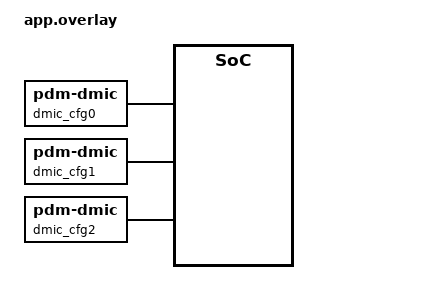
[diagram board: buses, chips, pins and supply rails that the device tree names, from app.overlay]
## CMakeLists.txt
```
# SPDX-License-Identifier: Apache-2.0

cmake_minimum_required(VERSION 3.28.0)
find_package(Zephyr REQUIRED HINTS $ENV{ZEPHYR_BASE})
project(dmic_util)

FILE(GLOB app_sources src/*.c)
target_sources(app PRIVATE ${app_sources})
```

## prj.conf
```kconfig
CONFIG_TEST=y
CONFIG_ZTEST=y
CONFIG_AUDIO=y
CONFIG_AUDIO_DMIC=y
```

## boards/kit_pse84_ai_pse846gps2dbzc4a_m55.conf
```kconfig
# Boot delay for PSE84 M55 targets.
#
# dmic_util is a pure compile-time devicetree-macro test that completes in
# ~2 ms from boot. On M55 the two-domain (enable_cm55 + image) OpenOCD flash
# sequence is slow enough that the test finishes and prints its output before
# Twister opens its serial-capture window, yielding a status=None result.
# Delaying the boot past the capture-window open lets Twister observe the
# PASS output.
CONFIG_BOOT_DELAY=2000
```

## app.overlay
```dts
/*
 * Copyright (c) 2025 Embeint Pty Ltd
 *
 * SPDX-License-Identifier: Apache-2.0
 */

/ {
	dmic_cfg0: dmic_cfg0 {
		compatible = "zephyr,pdm-dmic";
		clk-frequency-min = <1000000>;
		clk-frequency-max = <2000000>;
		clk-duty-cycle-min = <45>;
		clk-duty-cycle-max = <55>;
		channel-left;
	};

	dmic_cfg1: dmic_cfg1 {
		compatible = "zephyr,pdm-dmic";
		clk-frequency-min = <100000>;
		clk-frequency-max = <400000>;
		clk-duty-cycle-min = <40>;
		clk-duty-cycle-max = <60>;
		channel-right;
	};

	dmic_cfg2: dmic_cfg2 {
		compatible = "zephyr,pdm-dmic";
		clk-frequency-min = <150000>;
		clk-frequency-max = <450000>;
		clk-duty-cycle-min = <49>;
		clk-duty-cycle-max = <51>;
		channel-left;
		channel-right;
	};
};
```

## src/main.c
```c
/*
 * Copyright 2025 Embeint Pty Ltd
 *
 * SPDX-License-Identifier: Apache-2.0
 */

#include <zephyr/kernel.h>
#include <zephyr/audio/dmic.h>
#include <zephyr/ztest.h>

ZTEST(dmic_util, test_io_cfg_get)
{
	const struct pdm_io_cfg cfg0 = PDM_DT_IO_CFG_GET(DT_NODELABEL(dmic_cfg0));
	const struct pdm_io_cfg cfg1 = PDM_DT_IO_CFG_GET(DT_NODELABEL(dmic_cfg1));
	const struct pdm_io_cfg cfg2 = PDM_DT_IO_CFG_GET(DT_NODELABEL(dmic_cfg2));

	zassert_equal(1000000, cfg0.min_pdm_clk_freq);
	zassert_equal(2000000, cfg0.max_pdm_clk_freq);
	zassert_equal(45, cfg0.min_pdm_clk_dc);
	zassert_equal(55, cfg0.max_pdm_clk_dc);

	zassert_equal(100000, cfg1.min_pdm_clk_freq);
	zassert_equal(400000, cfg1.max_pdm_clk_freq);
	zassert_equal(40, cfg1.min_pdm_clk_dc);
	zassert_equal(60, cfg1.max_pdm_clk_dc);

	zassert_equal(150000, cfg2.min_pdm_clk_freq);
	zassert_equal(450000, cfg2.max_pdm_clk_freq);
	zassert_equal(49, cfg2.min_pdm_clk_dc);
	zassert_equal(51, cfg2.max_pdm_clk_dc);
}

ZTEST(dmic_util, test_channel_query)
{
	zassert_true(PDM_DT_HAS_LEFT_CHANNEL(DT_NODELABEL(dmic_cfg0)));
	zassert_false(PDM_DT_HAS_RIGHT_CHANNEL(DT_NODELABEL(dmic_cfg0)));

	zassert_false(PDM_DT_HAS_LEFT_CHANNEL(DT_NODELABEL(dmic_cfg1)));
	zassert_true(PDM_DT_HAS_RIGHT_CHANNEL(DT_NODELABEL(dmic_cfg1)));

	zassert_true(PDM_DT_HAS_LEFT_CHANNEL(DT_NODELABEL(dmic_cfg2)));
	zassert_true(PDM_DT_HAS_RIGHT_CHANNEL(DT_NODELABEL(dmic_cfg2)));
}

ZTEST_SUITE(dmic_util, NULL, NULL, NULL, NULL, NULL);
```
